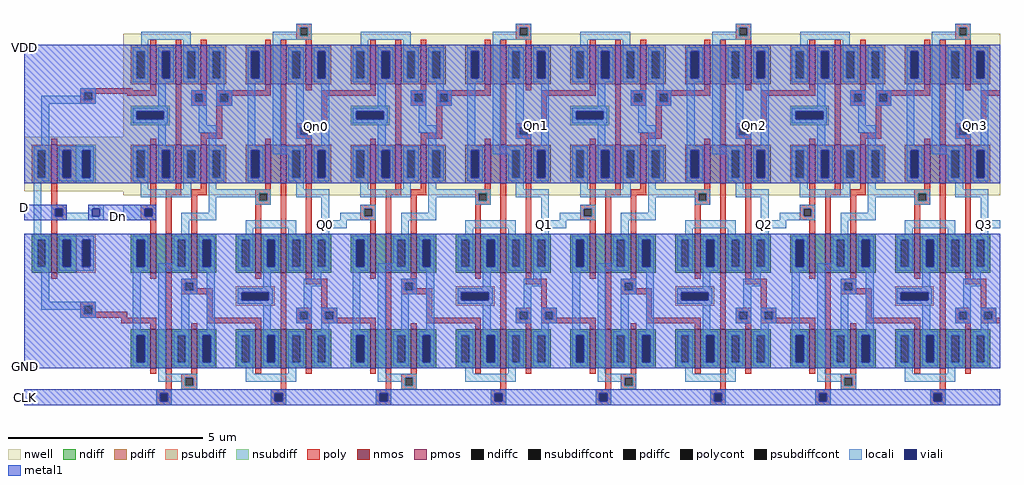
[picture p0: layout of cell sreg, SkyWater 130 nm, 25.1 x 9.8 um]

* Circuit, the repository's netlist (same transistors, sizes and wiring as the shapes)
* SPICE3 file created from sreg.ext - technology: sky130A

.subckt dff D VP Qn VN CLK Dn2 Dn1 Q
X0 VP Q Qn VP sky130_fd_pr__pfet_01v8 ad=0.5 pd=3 as=0.25 ps=1.5 w=1 l=0.15
X1 a_620_1710# a_110_250# VP VP sky130_fd_pr__pfet_01v8 ad=0.125 pd=1.25 as=0.5 ps=3 w=1 l=0.15
X2 a_110_250# CLK a_30_250# VN sky130_fd_pr__nfet_01v8 ad=0.25 pd=1.5 as=0.125 ps=1.25 w=1 l=0.15
X3 Q Qn a_440_740# VN sky130_fd_pr__nfet_01v8 ad=0.5 pd=3 as=0.25 ps=1.5 w=1 l=0.15
X4 a_30_740# D VN VN sky130_fd_pr__nfet_01v8 ad=0.125 pd=1.25 as=0.5 ps=3 w=1 l=0.15
X5 a_440_250# CLK VN VN sky130_fd_pr__nfet_01v8 ad=0.25 pd=1.5 as=0.25 ps=1.5 w=1 l=0.15
X6 VN a_110_250# a_440_250# VN sky130_fd_pr__nfet_01v8 ad=0.25 pd=1.5 as=0.5 ps=3 w=1 l=0.15
X7 Q CLK a_620_1200# VP sky130_fd_pr__pfet_01v8 ad=0.25 pd=1.5 as=0.125 ps=1.25 w=1 l=0.15
X8 Qn Q a_440_250# VN sky130_fd_pr__nfet_01v8 ad=0.5 pd=3 as=0.25 ps=1.5 w=1 l=0.15
X9 Qn CLK a_620_1710# VP sky130_fd_pr__pfet_01v8 ad=0.25 pd=1.5 as=0.125 ps=1.25 w=1 l=0.15
X10 a_30_250# Dn2 VN VN sky130_fd_pr__nfet_01v8 ad=0.125 pd=1.25 as=0.5 ps=3 w=1 l=0.15
X11 a_110_740# a_110_250# a_n100_1200# VP sky130_fd_pr__pfet_01v8 ad=0.5 pd=3 as=0.25 ps=1.5 w=1 l=0.15
X12 a_110_250# a_110_740# a_n100_1710# VP sky130_fd_pr__pfet_01v8 ad=0.5 pd=3 as=0.25 ps=1.5 w=1 l=0.15
X13 a_n100_1200# CLK VP VP sky130_fd_pr__pfet_01v8 ad=0.25 pd=1.5 as=0.25 ps=1.5 w=1 l=0.15
X14 VN a_110_250# a_110_740# VN sky130_fd_pr__nfet_01v8 ad=0.5 pd=3 as=0.25 ps=1.5 w=1 l=0.15
X15 a_n100_1710# CLK VP VP sky130_fd_pr__pfet_01v8 ad=0.25 pd=1.5 as=0.25 ps=1.5 w=1 l=0.15
X16 VP D a_n100_1200# VP sky130_fd_pr__pfet_01v8 ad=0.25 pd=1.5 as=0.5 ps=3 w=1 l=0.15
X17 a_110_740# CLK a_30_740# VN sky130_fd_pr__nfet_01v8 ad=0.25 pd=1.5 as=0.125 ps=1.25 w=1 l=0.15
X18 VP Qn Q VP sky130_fd_pr__pfet_01v8 ad=0.5 pd=3 as=0.25 ps=1.5 w=1 l=0.15
X19 a_620_1200# a_110_740# VP VP sky130_fd_pr__pfet_01v8 ad=0.125 pd=1.25 as=0.5 ps=3 w=1 l=0.15
X20 VN a_110_740# a_110_250# VN sky130_fd_pr__nfet_01v8 ad=0.5 pd=3 as=0.25 ps=1.5 w=1 l=0.15
X21 a_440_740# CLK VN VN sky130_fd_pr__nfet_01v8 ad=0.25 pd=1.5 as=0.25 ps=1.5 w=1 l=0.15
X22 VP Dn1 a_n100_1710# VP sky130_fd_pr__pfet_01v8 ad=0.25 pd=1.5 as=0.5 ps=3 w=1 l=0.15
X23 VN a_110_740# a_440_740# VN sky130_fd_pr__nfet_01v8 ad=0.25 pd=1.5 as=0.5 ps=3 w=1 l=0.15
.ends

.subckt inv m1_n40_n680# A VDD a_0_0# GND
X0 GND A a_0_0# GND sky130_fd_pr__nfet_01v8 ad=0.5 pd=3 as=0.5 ps=3 w=1 l=0.15
X1 VDD A a_0_0# VDD sky130_fd_pr__pfet_01v8 ad=0.5 pd=3 as=0.5 ps=3 w=1 l=0.15
.ends

.subckt sreg Dn
Xdff_0 Dn dff_3/VP dff_0/Qn VSUBS dff_3/CLK dff_0/Dn2 dff_0/Dn2 dff_1/D dff
Xdff_1 dff_1/D dff_3/VP dff_1/Qn VSUBS dff_3/CLK dff_0/Qn dff_0/Qn dff_2/D dff
Xdff_2 dff_2/D dff_3/VP dff_2/Qn VSUBS dff_3/CLK dff_1/Qn dff_1/Qn dff_3/D dff
Xdff_3 dff_3/D dff_3/VP dff_3/Qn VSUBS dff_3/CLK dff_2/Qn dff_2/Qn dff_3/Q dff
Xinv_0 dff_3/CLK Dn dff_3/VP dff_0/Dn2 VSUBS inv
.ends

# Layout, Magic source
magic
tech sky130A
<< nwell >>
rect 155 550 205 690
rect 765 540 770 955
rect 1330 540 1335 955
rect 1895 540 1900 955
<< poly >>
rect 155 800 230 815
rect 765 795 780 810
rect 1330 795 1345 810
rect 1895 795 1910 810
rect 155 225 215 240
rect 200 210 215 225
rect 765 210 780 225
rect 1330 210 1345 225
rect 1895 210 1910 225
<< locali >>
rect 205 495 250 515
rect 205 475 215 495
rect 763 455 780 495
rect 1328 455 1345 495
rect 1893 455 1910 495
<< viali >>
rect 260 485 280 505
<< metal1 >>
rect 155 570 215 926
rect 765 570 780 926
rect 1330 570 1345 926
rect 1895 570 1910 926
rect 155 505 290 515
rect 155 485 260 505
rect 280 485 290 505
rect 155 475 290 485
rect 155 94 216 440
rect 765 94 780 440
rect 1330 94 1345 440
rect 1895 94 1910 440
rect 155 0 216 40
rect 765 0 780 40
rect 1330 0 1345 40
rect 1895 0 1910 40
use dff  dff_0
transform 1 0 275 0 1 -30
box -70 30 490 1010
use dff  dff_1
transform 1 0 840 0 1 -30
box -70 30 490 1010
use dff  dff_2
transform 1 0 1405 0 1 -30
box -70 30 490 1010
use dff  dff_3
transform 1 0 1970 0 1 -30
box -70 30 490 1010
use inv  inv_0
transform 1 0 -30 0 1 340
box -20 -340 185 586
<< labels >>
rlabel metal1 193 484 193 484 1 Dn
port 3 n
rlabel space 702 717 703 718 1 Qn0
port 6 n
rlabel space 725 463 725 463 1 Q0
port 7 n
rlabel space 1268 719 1268 719 1 Qn1
port 8 n
rlabel space 1829 718 1829 718 1 Qn2
port 9 n
rlabel space 2396 718 2396 718 1 Qn3
port 10 n
rlabel space 1289 464 1289 464 1 Q1
port 11 n
rlabel space 1855 463 1855 463 1 Q2
port 12 n
rlabel space 2419 463 2419 463 1 Q3
port 13 n
rlabel space -47 19 -47 19 1 CLK
port 14 n
rlabel space -46 99 -46 99 1 GND
port 15 n
rlabel space -49 920 -49 920 3 VDD
port 16 e
rlabel space -48 508 -48 508 3 D
port 17 e
<< end >>

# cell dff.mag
magic
tech sky130A
<< nwell >>
rect -70 570 490 985
<< nmos >>
rect 0 370 15 470
rect 40 370 55 470
rect 105 370 120 470
rect 270 370 285 470
rect 335 370 350 470
rect 400 370 415 470
rect 0 125 15 225
rect 40 125 55 225
rect 105 125 120 225
rect 270 125 285 225
rect 335 125 350 225
rect 400 125 415 225
<< pmos >>
rect 0 855 15 955
rect 65 855 80 955
rect 130 855 145 955
rect 295 855 310 955
rect 335 855 350 955
rect 400 855 415 955
rect 0 600 15 700
rect 65 600 80 700
rect 130 600 145 700
rect 295 600 310 700
rect 335 600 350 700
rect 400 600 415 700
<< ndiff >>
rect -50 455 0 470
rect -50 385 -35 455
rect -15 385 0 455
rect -50 370 0 385
rect 15 370 40 470
rect 55 455 105 470
rect 55 385 70 455
rect 90 385 105 455
rect 55 370 105 385
rect 120 455 170 470
rect 120 385 135 455
rect 155 385 170 455
rect 120 370 170 385
rect 220 455 270 470
rect 220 385 235 455
rect 255 385 270 455
rect 220 370 270 385
rect 285 455 335 470
rect 285 385 300 455
rect 320 385 335 455
rect 285 370 335 385
rect 350 455 400 470
rect 350 385 365 455
rect 385 385 400 455
rect 350 370 400 385
rect 415 455 465 470
rect 415 385 430 455
rect 450 385 465 455
rect 415 370 465 385
rect -50 210 0 225
rect -50 140 -35 210
rect -15 140 0 210
rect -50 125 0 140
rect 15 125 40 225
rect 55 210 105 225
rect 55 140 70 210
rect 90 140 105 210
rect 55 125 105 140
rect 120 210 170 225
rect 120 140 135 210
rect 155 140 170 210
rect 120 125 170 140
rect 220 210 270 225
rect 220 140 235 210
rect 255 140 270 210
rect 220 125 270 140
rect 285 210 335 225
rect 285 140 300 210
rect 320 140 335 210
rect 285 125 335 140
rect 350 210 400 225
rect 350 140 365 210
rect 385 140 400 210
rect 350 125 400 140
rect 415 210 465 225
rect 415 140 430 210
rect 450 140 465 210
rect 415 125 465 140
<< pdiff >>
rect -50 940 0 955
rect -50 870 -35 940
rect -15 870 0 940
rect -50 855 0 870
rect 15 940 65 955
rect 15 870 30 940
rect 50 870 65 940
rect 15 855 65 870
rect 80 940 130 955
rect 80 870 95 940
rect 115 870 130 940
rect 80 855 130 870
rect 145 940 195 955
rect 145 870 160 940
rect 180 870 195 940
rect 145 855 195 870
rect 245 940 295 955
rect 245 870 260 940
rect 280 870 295 940
rect 245 855 295 870
rect 310 855 335 955
rect 350 940 400 955
rect 350 870 365 940
rect 385 870 400 940
rect 350 855 400 870
rect 415 940 465 955
rect 415 870 430 940
rect 450 870 465 940
rect 415 855 465 870
rect -50 685 0 700
rect -50 615 -35 685
rect -15 615 0 685
rect -50 600 0 615
rect 15 685 65 700
rect 15 615 30 685
rect 50 615 65 685
rect 15 600 65 615
rect 80 685 130 700
rect 80 615 95 685
rect 115 615 130 685
rect 80 600 130 615
rect 145 685 195 700
rect 145 615 160 685
rect 180 615 195 685
rect 145 600 195 615
rect 245 685 295 700
rect 245 615 260 685
rect 280 615 295 685
rect 245 600 295 615
rect 310 600 335 700
rect 350 685 400 700
rect 350 615 365 685
rect 385 615 400 685
rect 350 600 400 615
rect 415 685 465 700
rect 415 615 430 685
rect 450 615 465 685
rect 415 600 465 615
<< ndiffc >>
rect -35 385 -15 455
rect 70 385 90 455
rect 135 385 155 455
rect 235 385 255 455
rect 300 385 320 455
rect 365 385 385 455
rect 430 385 450 455
rect -35 140 -15 210
rect 70 140 90 210
rect 135 140 155 210
rect 235 140 255 210
rect 300 140 320 210
rect 365 140 385 210
rect 430 140 450 210
<< pdiffc >>
rect -35 870 -15 940
rect 30 870 50 940
rect 95 870 115 940
rect 160 870 180 940
rect 260 870 280 940
rect 365 870 385 940
rect 430 870 450 940
rect -35 615 -15 685
rect 30 615 50 685
rect 95 615 115 685
rect 160 615 180 685
rect 260 615 280 685
rect 365 615 385 685
rect 430 615 450 685
<< psubdiff >>
rect 220 320 320 335
rect 220 300 235 320
rect 305 300 320 320
rect 220 285 320 300
<< nsubdiff >>
rect -50 785 50 800
rect -50 765 -35 785
rect 35 765 50 785
rect -50 750 50 765
<< psubdiffcont >>
rect 235 300 305 320
<< nsubdiffcont >>
rect -35 765 35 785
<< poly >>
rect 375 1000 415 1010
rect 375 980 385 1000
rect 405 980 415 1000
rect 375 970 415 980
rect 0 955 15 970
rect 65 955 80 970
rect 130 955 145 970
rect 295 955 310 970
rect 335 955 350 970
rect 400 955 415 970
rect 0 840 15 855
rect -60 825 15 840
rect 0 700 15 715
rect 65 700 80 855
rect 130 840 145 855
rect 295 840 310 855
rect 105 830 145 840
rect 105 810 115 830
rect 135 810 145 830
rect 105 800 145 810
rect 170 830 310 840
rect 170 810 180 830
rect 200 825 310 830
rect 200 810 210 825
rect 170 800 210 810
rect 170 730 185 800
rect 130 715 185 730
rect 130 700 145 715
rect 295 700 310 715
rect 335 700 350 855
rect 400 840 415 855
rect 440 825 490 840
rect 440 755 455 825
rect 375 745 455 755
rect 375 725 385 745
rect 405 740 455 745
rect 405 725 415 740
rect 375 715 415 725
rect 400 700 415 715
rect 0 545 15 600
rect 65 585 80 600
rect 130 585 145 600
rect 295 585 310 600
rect -25 535 15 545
rect -25 515 -15 535
rect 5 515 15 535
rect -25 505 15 515
rect 0 470 15 505
rect 40 570 80 585
rect 105 570 145 585
rect 270 575 310 585
rect 40 470 55 570
rect 105 470 120 570
rect 270 555 280 575
rect 300 555 310 575
rect 270 545 310 555
rect 270 470 285 545
rect 335 470 350 600
rect 400 470 415 600
rect 0 355 15 370
rect -60 240 15 255
rect 0 225 15 240
rect 40 225 55 370
rect 105 355 120 370
rect 270 355 285 370
rect 80 344 120 355
rect 80 325 90 344
rect 110 330 120 344
rect 110 325 160 330
rect 80 315 160 325
rect 145 255 160 315
rect 145 240 285 255
rect 105 225 120 240
rect 270 225 285 240
rect 335 225 350 370
rect 400 355 415 370
rect 400 340 455 355
rect 440 280 455 340
rect 375 270 415 280
rect 375 250 385 270
rect 405 250 415 270
rect 375 240 415 250
rect 440 270 480 280
rect 440 250 450 270
rect 470 255 480 270
rect 470 250 490 255
rect 440 240 490 250
rect 400 225 415 240
rect 0 110 15 125
rect 40 70 55 125
rect 105 110 120 125
rect 270 110 285 125
rect 80 100 120 110
rect 80 80 90 100
rect 110 80 120 100
rect 80 70 120 80
rect 335 70 350 125
rect 400 110 415 125
rect 15 60 55 70
rect 15 40 25 60
rect 45 40 55 60
rect 15 30 55 40
rect 310 60 350 70
rect 310 40 320 60
rect 340 40 350 60
rect 310 30 350 40
<< polycont >>
rect 385 980 405 1000
rect 115 810 135 830
rect 180 810 200 830
rect 385 725 405 745
rect -15 515 5 535
rect 280 555 300 575
rect 90 325 110 344
rect 385 250 405 270
rect 450 250 470 270
rect 90 80 110 100
rect 25 40 45 60
rect 320 40 340 60
<< locali >>
rect 375 1000 415 1010
rect 375 990 385 1000
rect -24 970 104 990
rect -24 950 -5 970
rect 85 950 104 970
rect 315 980 385 990
rect 405 980 415 1000
rect 315 970 415 980
rect -45 940 -5 950
rect -45 870 -35 940
rect -15 870 -5 940
rect -45 860 -5 870
rect 20 940 60 950
rect 20 870 30 940
rect 50 870 60 940
rect 20 860 60 870
rect 85 940 125 950
rect 85 870 95 940
rect 115 870 125 940
rect 85 860 125 870
rect 150 940 190 950
rect 150 870 160 940
rect 180 870 190 940
rect 150 860 190 870
rect 20 795 40 860
rect 170 840 190 860
rect 250 940 290 950
rect 250 870 260 940
rect 280 870 290 940
rect 250 860 290 870
rect 105 830 145 840
rect 105 810 115 830
rect 135 810 145 830
rect 105 800 145 810
rect 170 830 210 840
rect 170 810 180 830
rect 200 810 210 830
rect 170 800 210 810
rect -45 785 45 795
rect -45 765 -35 785
rect 35 765 45 785
rect -45 755 45 765
rect 20 695 40 755
rect 125 750 145 800
rect 125 730 170 750
rect 150 695 170 730
rect 250 695 270 860
rect 315 695 335 970
rect 355 940 395 950
rect 355 870 365 940
rect 385 870 395 940
rect 355 860 395 870
rect 420 940 460 950
rect 420 870 430 940
rect 450 870 460 940
rect 420 860 460 870
rect 375 755 395 860
rect 375 745 415 755
rect 375 725 385 745
rect 405 725 415 745
rect 375 715 415 725
rect 440 695 460 860
rect -45 685 -5 695
rect -45 615 -35 685
rect -15 615 -5 685
rect -45 605 -5 615
rect 20 685 60 695
rect 20 615 30 685
rect 50 615 60 685
rect 20 605 60 615
rect 85 685 125 695
rect 85 615 95 685
rect 115 615 125 685
rect 85 605 125 615
rect 150 685 190 695
rect 150 615 160 685
rect 180 615 190 685
rect 150 605 190 615
rect 250 685 290 695
rect 250 615 260 685
rect 280 615 290 685
rect 315 685 395 695
rect 315 675 365 685
rect 250 605 290 615
rect 355 615 365 675
rect 385 615 395 685
rect 355 605 395 615
rect 420 685 460 695
rect 420 615 430 685
rect 450 615 460 685
rect 420 605 460 615
rect -25 585 -5 605
rect 85 585 105 605
rect -25 565 105 585
rect 150 585 170 605
rect 375 585 395 605
rect 150 575 310 585
rect 150 565 280 575
rect -25 535 15 545
rect -25 525 -15 535
rect -60 515 -15 525
rect 5 515 15 535
rect 150 525 170 565
rect 270 555 280 565
rect 300 555 310 575
rect 375 565 460 585
rect 270 545 310 555
rect -60 505 15 515
rect 80 505 170 525
rect 440 505 460 565
rect 80 465 100 505
rect 245 485 375 505
rect 245 465 265 485
rect 355 465 375 485
rect 440 485 490 505
rect 440 465 460 485
rect -45 455 -5 465
rect -45 385 -35 455
rect -15 385 -5 455
rect 60 455 100 465
rect 60 395 70 455
rect -45 375 -5 385
rect 20 385 70 395
rect 90 385 100 455
rect 20 375 100 385
rect 125 455 165 465
rect 125 385 135 455
rect 155 385 165 455
rect 125 375 165 385
rect 225 455 265 465
rect 225 385 235 455
rect 255 385 265 455
rect 225 375 265 385
rect 290 455 330 465
rect 290 385 300 455
rect 320 385 330 455
rect 290 375 330 385
rect 355 455 395 465
rect 355 385 365 455
rect 385 385 395 455
rect 355 375 395 385
rect 420 455 460 465
rect 420 385 430 455
rect 450 385 460 455
rect 420 375 460 385
rect -45 220 -25 375
rect -45 210 -5 220
rect -45 140 -35 210
rect -15 140 -5 210
rect -45 130 -5 140
rect 20 110 40 375
rect 80 344 120 355
rect 80 325 90 344
rect 110 325 120 344
rect 80 315 120 325
rect 80 220 100 315
rect 145 220 165 375
rect 290 330 310 375
rect 420 355 440 375
rect 395 335 440 355
rect 225 320 315 330
rect 225 300 235 320
rect 305 300 315 320
rect 225 290 315 300
rect 290 220 310 290
rect 395 280 415 335
rect 375 270 415 280
rect 375 250 385 270
rect 405 250 415 270
rect 375 240 415 250
rect 440 270 480 280
rect 440 250 450 270
rect 470 250 480 270
rect 440 240 480 250
rect 440 220 460 240
rect 60 210 100 220
rect 60 140 70 210
rect 90 140 100 210
rect 60 130 100 140
rect 125 210 165 220
rect 125 140 135 210
rect 155 140 165 210
rect 125 130 165 140
rect 225 210 265 220
rect 225 140 235 210
rect 255 140 265 210
rect 225 130 265 140
rect 290 210 330 220
rect 290 140 300 210
rect 320 140 330 210
rect 290 130 330 140
rect 355 210 395 220
rect 355 140 365 210
rect 385 140 395 210
rect 355 130 395 140
rect 420 210 460 220
rect 420 140 430 210
rect 450 140 460 210
rect 420 130 460 140
rect 245 110 265 130
rect 355 110 375 130
rect 20 100 120 110
rect 20 90 90 100
rect 80 80 90 90
rect 110 80 120 100
rect 245 90 375 110
rect 80 70 120 80
rect 15 60 55 70
rect 15 40 25 60
rect 45 40 55 60
rect 15 30 55 40
rect 310 60 350 70
rect 310 40 320 60
rect 340 40 350 60
rect 310 30 350 40
<< viali >>
rect 30 870 50 940
rect 260 870 280 940
rect -35 765 35 785
rect 430 870 450 940
rect 30 615 50 685
rect 260 615 280 685
rect 430 615 450 685
rect -35 385 -15 455
rect 135 385 155 455
rect 300 385 320 455
rect -35 140 -15 210
rect 235 300 305 320
rect 135 140 155 210
rect 300 140 320 210
rect 25 40 45 60
rect 320 40 340 60
<< metal1 >>
rect -60 940 490 956
rect -60 870 30 940
rect 50 870 260 940
rect 280 870 430 940
rect 450 870 490 940
rect -60 785 490 870
rect -60 765 -35 785
rect 35 765 490 785
rect -60 685 490 765
rect -60 615 30 685
rect 50 615 260 685
rect 280 615 430 685
rect 450 615 490 685
rect -60 600 490 615
rect -60 455 490 470
rect -60 385 -35 455
rect -15 385 135 455
rect 155 385 300 455
rect 320 385 490 455
rect -60 320 490 385
rect -60 300 235 320
rect 305 300 490 320
rect -60 210 490 300
rect -60 140 -35 210
rect -15 140 135 210
rect 155 140 300 210
rect 320 140 490 210
rect -60 124 490 140
rect -60 60 490 70
rect -60 40 25 60
rect 45 40 320 60
rect 340 40 490 60
rect -60 30 490 40
<< labels >>
rlabel metal1 -59 774 -59 774 7 VP
rlabel metal1 -59 307 -59 307 7 VN
rlabel metal1 -59 50 -59 50 7 CLK
rlabel locali -59 515 -59 515 7 D
rlabel poly -59 832 -59 832 7 Dn1
rlabel poly -59 247 -59 247 7 Dn2
rlabel locali 489 495 489 495 3 Q
rlabel poly 489 833 489 833 3 Qn
<< end >>

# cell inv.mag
magic
tech sky130A
<< nwell >>
rect -20 210 185 350
<< nmos >>
rect 50 0 65 100
<< pmos >>
rect 50 230 65 330
<< ndiff >>
rect 0 85 50 100
rect 0 15 15 85
rect 35 15 50 85
rect 0 0 50 15
rect 65 85 115 100
rect 65 15 80 85
rect 100 15 115 85
rect 65 0 115 15
<< pdiff >>
rect 0 315 50 330
rect 0 245 15 315
rect 35 245 50 315
rect 0 230 50 245
rect 65 315 115 330
rect 65 245 80 315
rect 100 245 115 315
rect 65 230 115 245
<< ndiffc >>
rect 15 15 35 85
rect 80 15 100 85
<< pdiffc >>
rect 15 245 35 315
rect 80 245 100 315
<< psubdiff >>
rect 115 85 165 100
rect 115 15 130 85
rect 150 15 165 85
rect 115 0 165 15
<< nsubdiff >>
rect 115 315 165 330
rect 115 245 130 315
rect 150 245 165 315
rect 115 230 165 245
<< psubdiffcont >>
rect 130 15 150 85
<< nsubdiffcont >>
rect 130 245 150 315
<< poly >>
rect 125 465 185 475
rect 125 445 135 465
rect 155 460 185 465
rect 155 445 165 460
rect 125 435 165 445
rect 50 330 65 345
rect 50 175 65 230
rect 50 165 90 175
rect 50 145 60 165
rect 80 145 90 165
rect 50 135 90 145
rect 50 100 65 135
rect 50 -15 65 0
rect 125 -85 165 -75
rect 125 -105 135 -85
rect 155 -100 165 -85
rect 155 -105 185 -100
rect 125 -115 185 -105
<< polycont >>
rect 135 445 155 465
rect 60 145 80 165
rect 135 -105 155 -85
<< locali >>
rect 125 465 165 475
rect 125 455 135 465
rect 25 445 135 455
rect 155 445 165 465
rect 25 435 165 445
rect 25 325 45 435
rect 5 315 45 325
rect 5 245 15 315
rect 35 245 45 315
rect 5 235 45 245
rect 70 315 160 325
rect 70 245 80 315
rect 100 245 130 315
rect 150 245 160 315
rect 70 235 160 245
rect 5 95 25 235
rect 50 165 90 175
rect 50 145 60 165
rect 80 155 90 165
rect 145 165 185 175
rect 145 155 155 165
rect 80 145 155 155
rect 175 145 185 165
rect 50 135 185 145
rect 5 85 45 95
rect 5 15 15 85
rect 35 15 45 85
rect 5 5 45 15
rect 70 85 160 95
rect 70 15 80 85
rect 100 15 130 85
rect 150 15 160 85
rect 70 5 160 15
rect 25 -75 45 5
rect 25 -85 165 -75
rect 25 -95 135 -85
rect 125 -105 135 -95
rect 155 -105 165 -85
rect 125 -115 165 -105
<< viali >>
rect 80 245 100 315
rect 130 245 150 315
rect 60 145 80 165
rect 155 145 175 165
rect 80 15 100 85
rect 130 15 150 85
<< metal1 >>
rect -20 315 185 586
rect -20 245 80 315
rect 100 245 130 315
rect 150 245 185 315
rect -20 230 185 245
rect -20 165 90 175
rect -20 145 60 165
rect 80 145 90 165
rect -20 135 90 145
rect 145 165 185 175
rect 145 145 155 165
rect 175 145 185 165
rect 145 135 185 145
rect -20 85 185 100
rect -20 15 80 85
rect 100 15 130 85
rect 150 15 185 85
rect -20 -246 185 15
rect -20 -340 185 -300
<< labels >>
rlabel metal1 81 582 81 582 1 VDD
rlabel metal1 82 -245 82 -245 1 GND
rlabel metal1 -19 154 -19 154 3 A
rlabel metal1 180 155 180 155 1 Y
<< end >>
